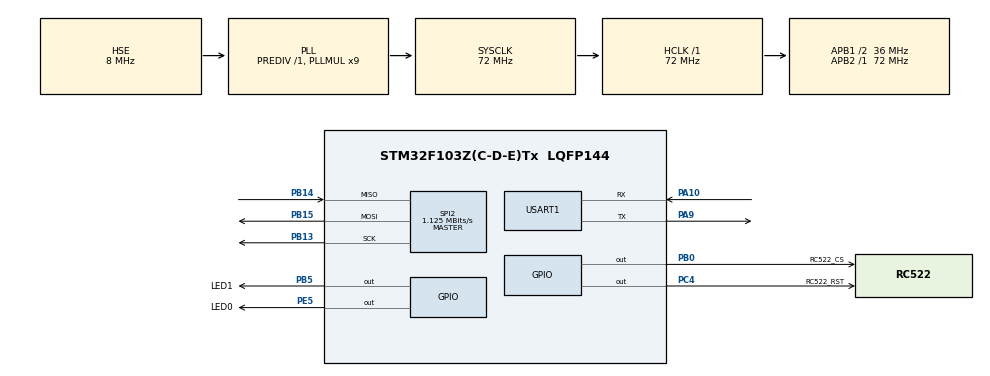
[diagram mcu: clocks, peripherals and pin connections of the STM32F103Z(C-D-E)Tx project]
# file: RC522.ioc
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Mcu.Family=STM32F1
Mcu.Name=STM32F103Z(C-D-E)Tx
Mcu.Package=LQFP144
NVIC.PriorityGroup=NVIC_PRIORITYGROUP_4
OSC_IN.Mode=HSE-External-Oscillator
OSC_IN.Signal=RCC_OSC_IN
OSC_OUT.Mode=HSE-External-Oscillator
OSC_OUT.Signal=RCC_OSC_OUT
PA10.Mode=Asynchronous
PA10.Signal=USART1_RX
PA13.Mode=Serial_Wire
PA13.Signal=SYS_JTMS-SWDIO
PA14.Mode=Serial_Wire
PA14.Signal=SYS_JTCK-SWCLK
PA9.Mode=Asynchronous
PA9.Signal=USART1_TX
PB0.GPIO_Label=RC522_CS
PB0.GPIO_ModeDefaultOutputPP=GPIO_MODE_OUTPUT_PP
PB0.PinState=GPIO_PIN_RESET
PB0.Signal=GPIO_Output
PB13.Mode=Full_Duplex_Master
PB13.Signal=SPI2_SCK
PB14.Mode=Full_Duplex_Master
PB14.Signal=SPI2_MISO
PB15.Mode=Full_Duplex_Master
PB15.Signal=SPI2_MOSI
PB5.GPIO_Label=LED1
PB5.Signal=GPIO_Output
PC4.GPIO_Label=RC522_RST
PC4.GPIO_ModeDefaultOutputPP=GPIO_MODE_OUTPUT_PP
PC4.PinState=GPIO_PIN_RESET
PC4.Signal=GPIO_Output
PE5.GPIO_Label=LED0
PE5.Signal=GPIO_Output
ProjectManager.HeapSize=0x200
ProjectManager.StackSize=0x400
ProjectManager.TargetToolchain=MDK-ARM V5.32
RCC.AHBFreq_Value=72000000
RCC.APB1CLKDivider=RCC_HCLK_DIV2
RCC.APB1Freq_Value=36000000
RCC.APB1TimFreq_Value=72000000
RCC.APB2Freq_Value=72000000
RCC.APB2TimFreq_Value=72000000
RCC.HCLKFreq_Value=72000000
RCC.PLLMUL=RCC_PLL_MUL9
RCC.PLLSourceVirtual=RCC_PLLSOURCE_HSE
RCC.SYSCLKFreq_VALUE=72000000
RCC.SYSCLKSource=RCC_SYSCLKSOURCE_PLLCLK
RCC.USBFreq_Value=72000000
SPI2.BaudRatePrescaler=SPI_BAUDRATEPRESCALER_32
SPI2.CLKPhase=SPI_PHASE_1EDGE
SPI2.CalculateBaudRate=1.125 MBits/s
SPI2.Direction=SPI_DIRECTION_2LINES
SPI2.Mode=SPI_MODE_MASTER
SPI2.VirtualType=VM_MASTER
USART1.VirtualMode=VM_ASYNC
board=custom

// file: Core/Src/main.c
/* USER CODE BEGIN Header */
/**
  ******************************************************************************
  * @file           : main.c
  * @brief          : Main program body
  ******************************************************************************
  * @attention
  *
  * <h2><center>&copy; Copyright (c) 2021 STMicroelectronics.
  * All rights reserved.</center></h2>
  *
  * This software component is licensed by ST under BSD 3-Clause license,
  * the "License"; You may not use this file except in compliance with the
  * License. You may obtain a copy of the License at:
  *                        opensource.org/licenses/BSD-3-Clause
  *
  ******************************************************************************
  */
/* USER CODE END Header */
#include "main.h"
#include "spi.h"
#include "usart.h"
#include "gpio.h"

/* USER CODE BEGIN Includes */
#include "delay.h"
#include "printf.h"
#include "rc522.h"
#include "string.h"
/* USER CODE END Includes */

void SystemClock_Config(void);

int main(void)
{

  /* MCU Configuration--------------------------------------------------------*/

  /* Reset of all peripherals, Initializes the Flash interface and the Systick. */
  HAL_Init();

  /* Configure the system clock */
  SystemClock_Config();

  /* Initialize all configured peripherals */
  MX_GPIO_Init();
  MX_USART1_UART_Init();
  MX_SPI2_Init();
  /* USER CODE BEGIN 2 */
	//初始化
	//*************************
	//delay_init(72);//延迟系统内设初始化
	PCD_Init();//RC522初始化
	//HAL_Delay(300);
  //*************************
  //全局变量
  //*************************
  uint8_t RxBuffer[4];
  char Card_ID[8];
  //*************************
  /* USER CODE END 2 */

  /* Infinite loop */
  while (1)
  {

    /* USER CODE BEGIN 3 */
    PCD_Request(PICC_REQALL, RxBuffer);//返回值为0，代表寻卡成功；并把卡类型存入RxBuffer中
    PCD_Anticoll(RxBuffer);   //防冲撞，完成这部就可以简单地 读取卡号，本次不涉及更高层次应用
    sprintf(Card_ID,"%x%x%x%x",RxBuffer[0],RxBuffer[1],RxBuffer[2],RxBuffer[3]);
    printf("ID=%s\r\n",Card_ID);

    if(strcmp(Card_ID,"b59dfcaa")==0)
    {
      HAL_GPIO_WritePin(LED1_GPIO_Port,LED1_Pin,GPIO_PIN_RESET);//LED1亮
      HAL_Delay(1000);
      memset(RxBuffer, 0, sizeof(RxBuffer));//清空字符串,这里要清除RxBuffer才行
    }
    else if(strcmp(Card_ID,"e1eff3cc")==0)
    {
      HAL_GPIO_WritePin(LED0_GPIO_Port,LED0_Pin,GPIO_PIN_RESET);//LED1亮
      HAL_Delay(1000);
      printf("LiuJunfan\r\n");
      memset(RxBuffer, 0, sizeof(RxBuffer));//清空字符串,这里要清除RxBuffer才行，否则Card_ID又会被组起来
    }
    else
    {
      HAL_GPIO_WritePin(LED1_GPIO_Port,LED1_Pin,GPIO_PIN_SET);//LED1灭
      HAL_GPIO_WritePin(LED0_GPIO_Port,LED0_Pin,GPIO_PIN_SET);//LED0灭
      memset(RxBuffer, 0, sizeof(RxBuffer));//清空字符串,这里要清除RxBuffer才行
    }
    HAL_Delay(1000);
  }
  /* USER CODE END 3 */
}

void SystemClock_Config(void)
{
  RCC_OscInitTypeDef RCC_OscInitStruct = {0};
  RCC_ClkInitTypeDef RCC_ClkInitStruct = {0};

  /** Initializes the RCC Oscillators according to the specified parameters
  * in the RCC_OscInitTypeDef structure.
  */
  RCC_OscInitStruct.OscillatorType = RCC_OSCILLATORTYPE_HSE;
  RCC_OscInitStruct.HSEState = RCC_HSE_ON;
  RCC_OscInitStruct.HSEPredivValue = RCC_HSE_PREDIV_DIV1;
  RCC_OscInitStruct.HSIState = RCC_HSI_ON;
  RCC_OscInitStruct.PLL.PLLState = RCC_PLL_ON;
  RCC_OscInitStruct.PLL.PLLSource = RCC_PLLSOURCE_HSE;
  RCC_OscInitStruct.PLL.PLLMUL = RCC_PLL_MUL9;
  if (HAL_RCC_OscConfig(&RCC_OscInitStruct) != HAL_OK)
  {
    Error_Handler();
  }
  /** Initializes the CPU, AHB and APB buses clocks
  */
  RCC_ClkInitStruct.ClockType = RCC_CLOCKTYPE_HCLK|RCC_CLOCKTYPE_SYSCLK
                              |RCC_CLOCKTYPE_PCLK1|RCC_CLOCKTYPE_PCLK2;
  RCC_ClkInitStruct.SYSCLKSource = RCC_SYSCLKSOURCE_PLLCLK;
  RCC_ClkInitStruct.AHBCLKDivider = RCC_SYSCLK_DIV1;
  RCC_ClkInitStruct.APB1CLKDivider = RCC_HCLK_DIV2;
  RCC_ClkInitStruct.APB2CLKDivider = RCC_HCLK_DIV1;

  if (HAL_RCC_ClockConfig(&RCC_ClkInitStruct, FLASH_LATENCY_2) != HAL_OK)
  {
    Error_Handler();
  }
}

void Error_Handler(void)
{
  /* USER CODE BEGIN Error_Handler_Debug */
  /* User can add his own implementation to report the HAL error return state */
  __disable_irq();
  printf("error\r\n");
  while (1)
  {
  }
  /* USER CODE END Error_Handler_Debug */
}

/************************ (C) COPYRIGHT STMicroelectronics *****END OF FILE****/
